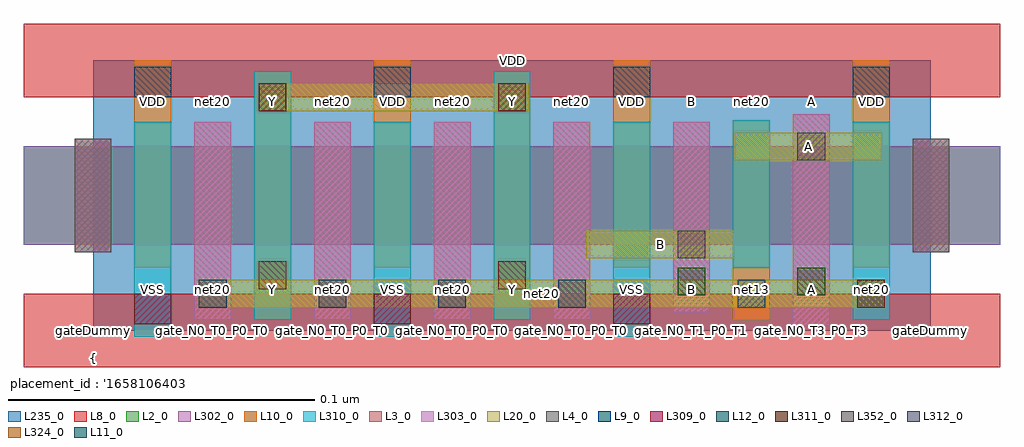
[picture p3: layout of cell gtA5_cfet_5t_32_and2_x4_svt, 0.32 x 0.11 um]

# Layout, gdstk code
import gdstk
lib = gdstk.Library(unit=1e-6, precision=2.5e-10)
def R(c, l, rs):  # rectangles x0, y0, x1, y1
    for r in rs: c.add(gdstk.rectangle(r[:2], r[2:], *l))
def A(c, l, x, y, w, h, nx, ny, dx, dy):  # array of equal rectangles
    R(c, l, [(x+i*dx, y+j*dy, x+i*dx+w, y+j*dy+h) for i in range(nx) for j in range(ny)])
L2_0 = (2, 0)
L3_0 = (3, 0)
L4_0 = (4, 0)
L8_0 = (8, 0)
L9_0 = (9, 0)
L10_0 = (10, 0)
L11_0 = (11, 0)
L12_0 = (12, 0)
L20_0 = (20, 0)
L235_0 = (235, 0)
L302_0 = (302, 0)
L303_0 = (303, 0)
L309_0 = (309, 0)
L310_0 = (310, 0)
L311_0 = (311, 0)
L312_0 = (312, 0)
L324_0 = (324, 0)
L352_0 = (352, 0)

gta5_cfet_5t_32_and2_x4_ = lib.new_cell('gtA5_cfet_5t_32_and2_x4_svt')
R(gta5_cfet_5t_32_and2_x4_, L2_0, [(-0.0225,0.028,0.2955,0.06)])
A(gta5_cfet_5t_32_and2_x4_, L3_0, 0.033, 0.0035, 0.012, 0.0645, 4, 1, 0.039, 0)
R(gta5_cfet_5t_32_and2_x4_, L3_0, [(0.228,0.0015,0.24,0.0705), (0.189,0.006,0.201,0.068), (-0.006,0.0255,0.006,0.0625), (0.267,0.0255,0.279,0.0625)])
R(gta5_cfet_5t_32_and2_x4_, L4_0, [(-0.006,0.0255,0.006,0.0625), (0.267,0.0255,0.279,0.0625)])
R(gta5_cfet_5t_32_and2_x4_, L8_0, [(-0.0225,-0.012,0.2955,0.012), (-0.0225,0.076,0.2955,0.1)])
A(gta5_cfet_5t_32_and2_x4_, L9_0, 0.0135, 0.076, 0.012, 0.01, 4, 1, 0.078, 0)
A(gta5_cfet_5t_32_and2_x4_, L10_0, 0.0135, 0.0205, 0.012, 0.0675, 4, 1, 0.078, 0)
R(gta5_cfet_5t_32_and2_x4_, L10_0, [(0.0525,0.0035,0.0645,0.0845), (0.1305,0.0035,0.1425,0.0845), (0.2085,0.0035,0.2205,0.0685)])
R(gta5_cfet_5t_32_and2_x4_, L11_0, [(0.21,0.0075,0.219,0.0165)])
A(gta5_cfet_5t_32_and2_x4_, L12_0, 0.0345, 0.0075, 0.009, 0.009, 4, 1, 0.039, 0)
R(gta5_cfet_5t_32_and2_x4_, L20_0, [(0.0345,0.0075,0.258,0.0165), (0.1608,0.0235,0.2087,0.0325), (0.209,0.0555,0.257,0.0645), (0.054,0.0715,0.142,0.0805)])
R(gta5_cfet_5t_32_and2_x4_, L235_0, [(0,0,0.273,0.088)])
R(gta5_cfet_5t_32_and2_x4_, L302_0, [(-0.0225,0.028,0.2955,0.06)])
A(gta5_cfet_5t_32_and2_x4_, L303_0, 0.033, 0.0035, 0.012, 0.0645, 4, 1, 0.039, 0)
R(gta5_cfet_5t_32_and2_x4_, L303_0, [(0.228,0.0015,0.24,0.0705), (0.189,0.006,0.201,0.068), (-0.006,0.0255,0.006,0.0625), (0.267,0.0255,0.279,0.0625)])
A(gta5_cfet_5t_32_and2_x4_, L309_0, 0.0135, 0.002, 0.012, 0.01, 3, 1, 0.078, 0)
A(gta5_cfet_5t_32_and2_x4_, L310_0, 0.0135, -0.002, 0.012, 0.07, 3, 1, 0.078, 0)
R(gta5_cfet_5t_32_and2_x4_, L310_0, [(0.0525,0.0035,0.0645,0.0845), (0.1305,0.0035,0.1425,0.0845), (0.2475,0.0035,0.2595,0.068), (0.2085,0.0205,0.2205,0.0685)])
R(gta5_cfet_5t_32_and2_x4_, L311_0, [(0.249,0.0075,0.258,0.0165), (0.054,0.0715,0.063,0.0805), (0.132,0.0715,0.141,0.0805)])
R(gta5_cfet_5t_32_and2_x4_, L312_0, [(0.1905,0.0235,0.1995,0.0325), (0.2295,0.0555,0.2385,0.0645)])
R(gta5_cfet_5t_32_and2_x4_, L324_0, [(0.054,0.0135,0.063,0.0225), (0.132,0.0135,0.141,0.0225)])
R(gta5_cfet_5t_32_and2_x4_, L352_0, [(0.1905,0.0115,0.1995,0.0205), (0.2295,0.0115,0.2385,0.0205)])
gta5_cfet_5t_32_and2_x4_.add(gdstk.Label('net20', (0.1462,0.012), layer=100, texttype=100))
gta5_cfet_5t_32_and2_x4_.add(gdstk.Label('gateDummy', (0,0), layer=103, texttype=103))
gta5_cfet_5t_32_and2_x4_.add(gdstk.Label('sd_N0_VSS_P0_VDD', (0.0195,0), layer=103, texttype=103))
gta5_cfet_5t_32_and2_x4_.add(gdstk.Label('gate_N0_T0_P0_T0', (0.039,0), layer=103, texttype=103))
gta5_cfet_5t_32_and2_x4_.add(gdstk.Label('sd_N0_T4_P0_T4', (0.0585,0), layer=103, texttype=103))
gta5_cfet_5t_32_and2_x4_.add(gdstk.Label('gate_N0_T0_P0_T0', (0.078,0), layer=103, texttype=103))
gta5_cfet_5t_32_and2_x4_.add(gdstk.Label('sd_N0_VSS_P0_VDD', (0.0975,0), layer=103, texttype=103))
gta5_cfet_5t_32_and2_x4_.add(gdstk.Label('gate_N0_T0_P0_T0', (0.117,0), layer=103, texttype=103))
gta5_cfet_5t_32_and2_x4_.add(gdstk.Label('sd_N0_T4_P0_T4', (0.1365,0), layer=103, texttype=103))
gta5_cfet_5t_32_and2_x4_.add(gdstk.Label('gate_N0_T0_P0_T0', (0.156,0), layer=103, texttype=103))
gta5_cfet_5t_32_and2_x4_.add(gdstk.Label('sd_N0_VSS_P0_VDD', (0.1755,0), layer=103, texttype=103))
gta5_cfet_5t_32_and2_x4_.add(gdstk.Label('gate_N0_T1_P0_T1', (0.195,0), layer=103, texttype=103))
gta5_cfet_5t_32_and2_x4_.add(gdstk.Label('sd_N0_abut_P0_T0', (0.2145,0), layer=103, texttype=103))
gta5_cfet_5t_32_and2_x4_.add(gdstk.Label('gate_N0_T3_P0_T3', (0.234,0), layer=103, texttype=103))
gta5_cfet_5t_32_and2_x4_.add(gdstk.Label('sd_N0_T0_P0_VDD', (0.2535,0), layer=103, texttype=103))
gta5_cfet_5t_32_and2_x4_.add(gdstk.Label('gateDummy', (0.273,0), layer=103, texttype=103))
gta5_cfet_5t_32_and2_x4_.add(gdstk.Label('}', (0,-0.0963), layer=104, texttype=104))
gta5_cfet_5t_32_and2_x4_.add(gdstk.Label('  power : None', (0,-0.0875), layer=104, texttype=104))
gta5_cfet_5t_32_and2_x4_.add(gdstk.Label('  performance : None', (0,-0.0788), layer=104, texttype=104))
gta5_cfet_5t_32_and2_x4_.add(gdstk.Label("  solution_hash : '14620549826982881657'", (0,-0.07), layer=104, texttype=104))
gta5_cfet_5t_32_and2_x4_.add(gdstk.Label('  number_m2 : 0', (0,-0.0612), layer=104, texttype=104))
gta5_cfet_5t_32_and2_x4_.add(gdstk.Label('  number_m1 : 0', (0,-0.0525), layer=104, texttype=104))
gta5_cfet_5t_32_and2_x4_.add(gdstk.Label('  number_m0cuts : 0', (0,-0.0438), layer=104, texttype=104))
gta5_cfet_5t_32_and2_x4_.add(gdstk.Label('  number_m0 : 4', (0,-0.035), layer=104, texttype=104))
gta5_cfet_5t_32_and2_x4_.add(gdstk.Label("  solution_number : '0000'", (0,-0.0262), layer=104, texttype=104))
gta5_cfet_5t_32_and2_x4_.add(gdstk.Label("  placement_id : '16581064035319579'", (0,-0.0175), layer=104, texttype=104))
gta5_cfet_5t_32_and2_x4_.add(gdstk.Label('{', (0,-0.0088), layer=104, texttype=104))
gta5_cfet_5t_32_and2_x4_.add(gdstk.Label('VSS', (0.0195,0.0132), layer=105, texttype=105))
gta5_cfet_5t_32_and2_x4_.add(gdstk.Label('net20', (0.039,0.0132), layer=105, texttype=105))
gta5_cfet_5t_32_and2_x4_.add(gdstk.Label('Y', (0.0585,0.0132), layer=105, texttype=105))
gta5_cfet_5t_32_and2_x4_.add(gdstk.Label('net20', (0.078,0.0132), layer=105, texttype=105))
gta5_cfet_5t_32_and2_x4_.add(gdstk.Label('VSS', (0.0975,0.0132), layer=105, texttype=105))
gta5_cfet_5t_32_and2_x4_.add(gdstk.Label('net20', (0.117,0.0132), layer=105, texttype=105))
gta5_cfet_5t_32_and2_x4_.add(gdstk.Label('Y', (0.1365,0.0132), layer=105, texttype=105))
gta5_cfet_5t_32_and2_x4_.add(gdstk.Label('net20', (0.156,0.0132), layer=105, texttype=105))
gta5_cfet_5t_32_and2_x4_.add(gdstk.Label('VSS', (0.1755,0.0132), layer=105, texttype=105))
gta5_cfet_5t_32_and2_x4_.add(gdstk.Label('B', (0.195,0.0132), layer=105, texttype=105))
gta5_cfet_5t_32_and2_x4_.add(gdstk.Label('net13', (0.2145,0.0132), layer=105, texttype=105))
gta5_cfet_5t_32_and2_x4_.add(gdstk.Label('A', (0.234,0.0132), layer=105, texttype=105))
gta5_cfet_5t_32_and2_x4_.add(gdstk.Label('net20', (0.2535,0.0132), layer=105, texttype=105))
gta5_cfet_5t_32_and2_x4_.add(gdstk.Label('VDD', (0.0195,0.0747), layer=105, texttype=105))
gta5_cfet_5t_32_and2_x4_.add(gdstk.Label('net20', (0.039,0.0747), layer=105, texttype=105))
gta5_cfet_5t_32_and2_x4_.add(gdstk.Label('Y', (0.0585,0.0747), layer=105, texttype=105))
gta5_cfet_5t_32_and2_x4_.add(gdstk.Label('net20', (0.078,0.0747), layer=105, texttype=105))
gta5_cfet_5t_32_and2_x4_.add(gdstk.Label('VDD', (0.0975,0.0747), layer=105, texttype=105))
gta5_cfet_5t_32_and2_x4_.add(gdstk.Label('net20', (0.117,0.0747), layer=105, texttype=105))
gta5_cfet_5t_32_and2_x4_.add(gdstk.Label('Y', (0.1365,0.0747), layer=105, texttype=105))
gta5_cfet_5t_32_and2_x4_.add(gdstk.Label('net20', (0.156,0.0747), layer=105, texttype=105))
gta5_cfet_5t_32_and2_x4_.add(gdstk.Label('VDD', (0.1755,0.0747), layer=105, texttype=105))
gta5_cfet_5t_32_and2_x4_.add(gdstk.Label('B', (0.195,0.0747), layer=105, texttype=105))
gta5_cfet_5t_32_and2_x4_.add(gdstk.Label('net20', (0.2145,0.0747), layer=105, texttype=105))
gta5_cfet_5t_32_and2_x4_.add(gdstk.Label('A', (0.234,0.0747), layer=105, texttype=105))
gta5_cfet_5t_32_and2_x4_.add(gdstk.Label('VDD', (0.2535,0.0747), layer=105, texttype=105))
gta5_cfet_5t_32_and2_x4_.add(gdstk.Label('VSS', (0.1365,0), layer=8, texttype=0))
gta5_cfet_5t_32_and2_x4_.add(gdstk.Label('VDD', (0.1365,0.088), layer=8, texttype=0))
gta5_cfet_5t_32_and2_x4_.add(gdstk.Label('B', (0.1847,0.028), layer=20, texttype=251))
gta5_cfet_5t_32_and2_x4_.add(gdstk.Label('A', (0.233,0.06), layer=20, texttype=251))
gta5_cfet_5t_32_and2_x4_.add(gdstk.Label('Y', (0.098,0.076), layer=20, texttype=251))
gta5_cfet_5t_32_and2_x4_.add(gdstk.Label('gtA5_cfet_5t_32_and2_x4_rvt_0', (0,0), layer=235, texttype=0))

lib.write_gds('gtA5_cfet_5t_32_and2_x4_svt.gds')
